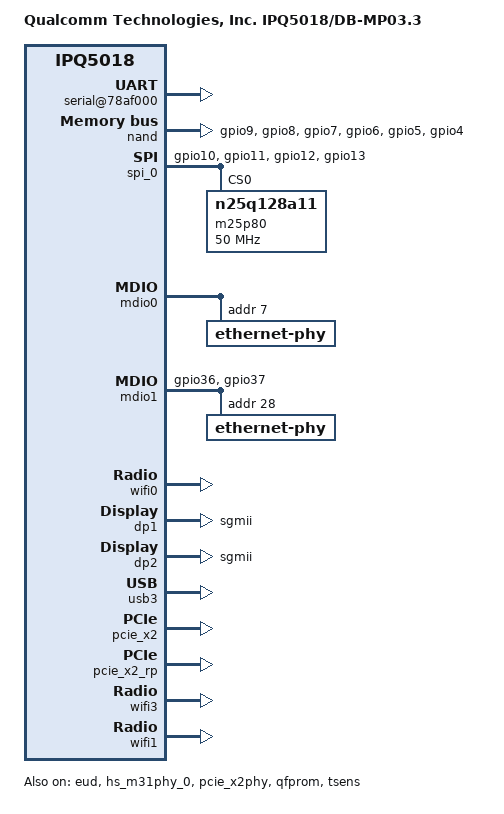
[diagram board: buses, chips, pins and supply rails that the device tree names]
/dts-v1/;
/* Copyright (c) 2018-2020, The Linux Foundation. All rights reserved.
 *
 * Permission to use, copy, modify, and/or distribute this software for any
 * purpose with or without fee is hereby granted, provided that the above
 * copyright notice and this permission notice appear in all copies.
 *
 * THE SOFTWARE IS PROVIDED "AS IS" AND THE AUTHOR DISCLAIMS ALL WARRANTIES
 * WITH REGARD TO THIS SOFTWARE INCLUDING ALL IMPLIED WARRANTIES OF
 * MERCHANTABILITY AND FITNESS. IN NO EVENT SHALL THE AUTHOR BE LIABLE FOR
 * ANY SPECIAL, DIRECT, INDIRECT, OR CONSEQUENTIAL DAMAGES OR ANY DAMAGES
 * WHATSOEVER RESULTING FROM LOSS OF USE, DATA OR PROFITS, WHETHER IN AN
 * ACTION OF CONTRACT, NEGLIGENCE OR OTHER TORTIOUS ACTION, ARISING OUT OF
 * OR IN CONNECTION WITH THE USE OR PERFORMANCE OF THIS SOFTWARE.
 */

#include "qcom-ipq5018.dtsi"

/ {
	#address-cells = <0x2>;
	#size-cells = <0x2>;
	model = "Qualcomm Technologies, Inc. IPQ5018/DB-MP03.3";
	compatible = "qcom,ipq5018-db-mp03.3", "qcom,ipq5018";
	interrupt-parent = <&intc>;

	aliases {
		sdhc1 = &sdhc_1; /* SDC1 eMMC slot */
		serial0 = &blsp1_uart1;
		serial1 = &blsp1_uart2;
		ethernet0 = "/soc/dp1";
		ethernet1 = "/soc/dp2";
	};

	chosen {
		bootargs = "console=ttyMSM0,115200,n8 rw init=/init";
	#ifdef __IPQ_MEM_PROFILE_256_MB__
		bootargs-append = " swiotlb=1";
	#else
		bootargs-append = " swiotlb=1 coherent_pool=2M";
	#endif
		stdout-path = "serial0";
	};
	reserved-memory {
	#ifdef __IPQ_MEM_PROFILE_256_MB__
	/*            256 MB Profile
	 * +=========+==============+========================+
	 * |        |              |                         |
	 * | Region | Start Offset |          Size           |
	 * |        |              |                         |
	 * +--------+--------------+-------------------------+
	 * |        |              |                         |
	 * |        |              |                         |
	 * |  NSS   |  0x40000000  |           8MB           |
	 * |        |              |                         |
	 * |        |              |                         |
	 * +--------+--------------+-------------------------+
	 * |        |              |                         |
	 * |        |              |                         |
	 * |        |              |                         |
	 * |        |              |                         |
	 * | Linux  |  0x40800000  | Depends on total memory |
	 * |        |              |                         |
	 * |        |              |                         |
	 * |        |              |                         |
	 * +        |              |                         |
	 * +--------+--------------+-------------------------+
	 * |        |              |                         |
	 * | uboot  |  0x4A600000  |           4MB           |
	 * |        |              |                         |
	 * +--------+--------------+-------------------------+
	 * |  SBL   |  0x4AA00000  |           1MB           |
	 * +--------+--------------+-------------------------+
	 * |  smem  |  0x4AB00000  |           1MB           |
	 * +--------+--------------+-------------------------+
	 * |        |              |                         |
	 * |   TZ   |  0x4AC00000  |           4MB           |
	 * |        |              |                         |
	 * +--------+--------------+-------------------------+
	 * |        |              |                         |
	 * |        |              |                         |
	 * |        |              |                         |
	 * |   Q6   |  0x4B000000  |          16MB           |
	 * |  code/ |              |                         |
	 * |  data  |              |                         |
	 * +--------+--------------+-------------------------+
	 * |        |              |                         |
	 * |IPQ5018 |  0x4C000000  |          13MB           |
	 * |  data  |              |                         |
	 * +--------+--------------+-------------------------+
	 * | M3 Dump|  0x4CD00000  |           1MB           |
	 * +--------+--------------+-------------------------+
	 * |  QDSS  |  0x4CE00000  |           1MB           |
	 * +--------+--------------+-------------------------+
	 * |QCN6122 |  0x4CF00000  |          15MB           |
	 * |  data  |              |                         |
	 * +--------+--------------+-------------------------+
	 * | M3 Dump|  0x4DE00000  |           1MB           |
	 * +--------+--------------+-------------------------+
	 * |  QDSS  |  0x4DF00000  |           1MB           |
	 * +--------+--------------+-------------------------+
	 * |        |              |                         |
	 * |QCN9000 |  0x4E000000  |          17MB           |
	 * |        |              |                         |
	 * +--------+--------------+-------------------------+
	 * |        |              |                         |
	 * |  MHI1  |  0x4F100000  |          16MB           |
	 * |        |              |                         |
	 * +--------+--------------+-------------------------+
	 * |                                                 |
	 * |      Rest of the memory for Linux               |
	 * |                                                 |
	 * +=================================================+
	 */

		q6_mem_regions: q6_mem_regions@4b000000 {
			no-map;
			reg = <0x0 0x4b000000 0x0 0x3000000>;
		};

		q6_code_data: q6_code_data@4b000000 {
			no-map;
			reg = <0x0 0x4b000000 0x0 01000000>;
		};

		q6_ipq5018_data: q6_ipq5018_data@4c000000 {
			no-map;
			reg = <0x0 0x4c000000 0x0 0xD00000>;
		};

		m3_dump: m3_dump@4CD00000 {
			no-map;
			reg = <0x0 0x4CD00000 0x0 0x100000>;
		};

		q6_etr_region:q6_etr_dump@4CE00000 {
			no-map;
			reg = <0x0 0x4CE00000 0x0 0x100000>;
		};

		q6_qcn6122_data1: q6_qcn6122_data1@4CF00000 {
			no-map;
			reg = <0x0 0x4CF00000 0x0 0xF00000>;
		};

		m3_dump_qcn6122_1: m3_dump_qcn6122_1@4DE00000 {
			no-map;
			reg = <0x0 0x4DE00000 0x0 0x100000>;
		};

		q6_qcn6122_etr_1: q6_qcn6122_etr_1@4DF00000 {
			no-map;
			reg = <0x0 0x4DF00000 0x0 0x100000>;
		};

		q6_qcn9000_region: qcn9000_pcie0@4E000000 {
			no-map;
			reg = <0x0 0x4E000000 0x0 0x01100000>;
		};

		mhi_region1: dma_pool1@4F100000 {
			compatible = "shared-dma-pool";
			no-map;
			reg = <0x0 0x4F100000 0x0 0x01000000>;
		};
	#else
	/*                      512 MB Profile
	 * +=========+==============+========================+
	 * |        |              |                         |
	 * | Region | Start Offset |          Size           |
	 * |        |              |                         |
	 * +--------+--------------+-------------------------+
	 * |        |              |                         |
	 * |        |              |                         |
	 * |  NSS   |  0x40000000  |          16MB           |
	 * |        |              |                         |
	 * |        |              |                         |
	 * +--------+--------------+-------------------------+
	 * |        |              |                         |
	 * |        |              |                         |
	 * |        |              |                         |
	 * |        |              |                         |
	 * | Linux  |  0x41000000  | Depends on total memory |
	 * |        |              |                         |
	 * |        |              |                         |
	 * |        |              |                         |
	 * |        |              |                         |
	 * +--------+--------------+-------------------------+
	 * |        |              |                         |
	 * | uboot  |  0x4A600000  |           4MB           |
	 * |        |              |                         |
	 * +--------+--------------+-------------------------+
	 * |  SBL   |  0x4AA00000  |           1MB           |
	 * +--------+--------------+-------------------------+
	 * |  smem  |  0x4AB00000  |           1MB           |
	 * +--------+--------------+-------------------------+
	 * |        |              |                         |
	 * |   TZ   |  0x4AC00000  |           4MB           |
	 * |        |              |                         |
	 * +--------+--------------+-------------------------+
	 * |        |              |                         |
	 * |        |              |                         |
	 * |   Q6   |  0x4B000000  |          16MB           |
	 * |  code/ |              |                         |
	 * |  data  |              |                         |
	 * +--------+--------------+-------------------------+
	 * |        |              |                         |
	 * |IPQ5018 |  0x4C000000  |          14MB           |
	 * |  data  |              |                         |
	 * +--------+--------------+-------------------------+
	 * | M3 Dump|  0x4CE00000  |           1MB           |
	 * +--------+--------------+-------------------------+
	 * |  QDSS  |  0x4CF00000  |           1MB           |
	 * +--------+--------------+-------------------------+
	 * | caldb  |  0x4D000000  |           2MB           |
	 * +--------+--------------+-------------------------+
	 * |QCN6122 |  0x4D200000  |          16MB           |
	 * |  data  |              |                         |
	 * +--------+--------------+-------------------------+
	 * | M3 Dump|  0x4E200000  |           1MB           |
	 * +--------+--------------+-------------------------+
	 * |  QDSS  |  0x4E300000  |           1MB           |
	 * +--------+--------------+-------------------------+
	 * | caldb  |  0x4E400000  |           5MB           |
	 * +--------+--------------+-------------------------+
	 * |        |              |                         |
	 * |QCN9000 |  0x4E900000  |          30MB           |
	 * |        |              |                         |
	 * +--------+--------------+-------------------------+
	 * |        |              |                         |
	 * |  MHI1  |  0x50700000  |          16MB           |
	 * |        |              |                         |
	 * +--------+--------------+-------------------------+
	 * |                                                 |
	 * |      Rest of the memory for Linux               |
	 * |                                                 |
	 * +=================================================+
	 */

		q6_mem_regions: q6_mem_regions@4b000000 {
			no-map;
			reg = <0x0 0x4b000000 0x0 0x3900000>;
		};

		q6_code_data: q6_code_data@4b000000 {
			no-map;
			reg = <0x0 0x4b000000 0x0 01000000>;
		};

		q6_ipq5018_data: q6_ipq5018_data@4c000000 {
			no-map;
			reg = <0x0 0x4c000000 0x0 0xE00000>;
		};

		m3_dump: m3_dump@4CE00000 {
			no-map;
			reg = <0x0 0x4CE00000 0x0 0x100000>;
		};

		q6_etr_region:q6_etr_dump@4CF00000 {
			no-map;
			reg = <0x0 0x4CF00000 0x0 0x100000>;
		};

		q6_caldb_region: q6_caldb_region@4d000000 {
			no-map;
			reg = <0x0 0x4d000000 0x0 0x200000>;
		};

		q6_qcn6122_data1: q6_qcn6122_data1@4d200000 {
			no-map;
			reg = <0x0 0x4d200000 0x0 0x1000000>;
		};

		m3_dump_qcn6122_1: m3_dump_qcn6122_1@4e200000 {
			no-map;
			reg = <0x0 0x4e200000 0x0 0x100000>;
		};

		q6_qcn6122_etr_1: q6_qcn6122_etr_1@4e300000 {
			no-map;
			reg = <0x0 0x4e300000 0x0 0x100000>;
		};

		q6_qcn6122_caldb_1: q6_qcn6122_caldb_1@4e400000 {
			no-map;
			reg = <0x0 0x4e400000 0x0 0x500000>;
		};

		q6_qcn9000_region: qcn9000_pcie0@4e900000 {
			no-map;
			reg = <0x0 0x4E900000 0x0 0x01E00000>;
		};

		mhi_region1: dma_pool1@50700000 {
			compatible = "shared-dma-pool";
			no-map;
			reg = <0x0 0x50700000 0x0 0x01000000>;
		};
	#endif
	};

	soc {
		serial@78af000 {
			status = "ok";
		};

		qpic_bam: dma@7984000{
			status = "ok";
		};

		nand: qpic-nand@79b0000 {
			pinctrl-0 = <&qspi_nand_pins>;
			pinctrl-names = "default";
			status = "ok";
		};

		spi_0: spi@78b5000 { /* BLSP1 QUP0 */
			pinctrl-0 = <&blsp0_spi_pins>;
			pinctrl-names = "default";
			cs-select = <0>;
			status = "ok";

			m25p80@0 {
				#address-cells = <1>;
				#size-cells = <1>;
				reg = <0>;
				compatible = "n25q128a11";
				linux,modalias = "m25p80", "n25q128a11";
				spi-max-frequency = <50000000>;
				use-default-sizes;
			};
		};

		mdio0: mdio@88000 {
			status = "ok";

			ethernet-phy@0 {
				reg = <7>;
			};
		};

		mdio1: mdio@90000 {
			status = "ok";
			pinctrl-0 = <&mdio1_pins>;
			pinctrl-names = "default";
			phy-reset-gpio = <&tlmm 39 0>;

			ethernet-phy@0 {
				reg = <28>;
			};
		};

		ess-instance {
			num_devices = <0x1>;
			ess-switch@0x39c00000 {
				switch_mac_mode = <0xf>; /* mac mode for uniphy instance*/
				cmnblk_clk = "internal_96MHz"; /* cmnblk clk*/
				qcom,port_phyinfo {
					port@0 {
						port_id = <1>;
						phy_address = <7>;
						mdiobus = <&mdio0>;
					};
					port@1 {
						port_id = <2>;
						phy_address = <0x1c>;
						mdiobus = <&mdio1>;
						port_mac_sel = "QGMAC_PORT";
					};
				};
				led_source@0 {
					source = <0>;
					mode = "normal";
					speed = "all";
					blink_en = "enable";
					active = "high";
				};
			};
		};

		wifi0: wifi@c000000 {
			status = "ok";
		};

		dp1 {
			device_type = "network";
			compatible = "qcom,nss-dp";
			clocks = <&gcc GCC_SNOC_GMAC0_AXI_CLK>;
			clock-names = "nss-snoc-gmac-axi-clk";
			qcom,id = <1>;
			reg = <0x39C00000 0x10000>;
			interrupts = <GIC_SPI 101 IRQ_TYPE_LEVEL_HIGH>;
			qcom,mactype = <2>;
			qcom,link-poll = <1>;
			qcom,phy-mdio-addr = <7>;
			mdio-bus = <&mdio0>;
			local-mac-address = [000000000000];
			phy-mode = "sgmii";
		};

		dp2 {
			device_type = "network";
			compatible = "qcom,nss-dp";
			clocks = <&gcc GCC_SNOC_GMAC1_AXI_CLK>;
			clock-names = "nss-snoc-gmac-axi-clk";
			qcom,id = <2>;
			reg = <0x39D00000 0x10000>;
			interrupts = <GIC_SPI 109 IRQ_TYPE_LEVEL_HIGH>;
			qcom,mactype = <2>;
			qcom,link-poll = <1>;
			qcom,phy-mdio-addr = <28>;
			mdio-bus = <&mdio1>;
			local-mac-address = [000000000000];
			phy-mode = "sgmii";
		};

		qcom,test@0 {
			status = "ok";
		};

		nss-macsec1 {
			compatible = "qcom,nss-macsec";
			phy_addr = <0x1c>;
			mdiobus = <&mdio1>;
		};

		lpass: lpass@0xA000000{
			status = "disabled";
		};

		pcm: pcm@0xA3C0000{
			pinctrl-0 = <&audio_pins>;
			pinctrl-names = "default";
			status = "disabled";
		};

		pcm_lb: pcm_lb@0 {
			status = "disabled";
		};
	};

	thermal-zones {
		status = "ok";
	};
};

&tlmm {
	pinctrl-0 = <&blsp0_uart_pins &blsp1_uart_pins &phy_led_pins &pcie_x2_perst>;
	pinctrl-names = "default";

	blsp0_uart_pins: blsp0_uart_pins {
		uart_rx_tx {
			pins = "gpio20", "gpio21";
			function = "blsp0_uart0";
			bias-disable;
		};
	};

	blsp1_uart_pins: blsp1_uart_pins {
		uart_rx_tx {
			pins = "gpio23", "gpio25", "gpio24", "gpio26";
			function = "blsp1_uart2";
			bias-disable;
		};
	};

	blsp0_spi_pins: blsp0_spi_pins {
		mux {
			pins = "gpio10", "gpio11", "gpio12", "gpio13";
			function = "blsp0_spi";
			drive-strength = <2>;
			bias-disable;
		};
	};

	qspi_nand_pins: qspi_nand_pins {
		qspi_clock {
			pins = "gpio9";
			function = "qspi_clk";
			drive-strength = <8>;
			bias-disable;
		};
		qspi_cs {
				pins = "gpio8";
				function = "qspi_cs";
				drive-strength = <8>;
				bias-disable;
			};
		qspi_data_0 {
				pins = "gpio7";
				function = "qspi0";
				drive-strength = <8>;
				bias-disable;
			};
		qspi_data_1 {
				pins = "gpio6";
				function = "qspi1";
				drive-strength = <8>;
				bias-disable;
			};
		qspi_data_2 {
				pins = "gpio5";
				function = "qspi2";
				drive-strength = <8>;
				bias-disable;
			};
		qspi_data_3 {
				pins = "gpio4";
				function = "qspi3";
				drive-strength = <8>;
				bias-disable;
			};
	};

	mdio1_pins: mdio_pinmux {
		mux_0 {
			pins = "gpio36";
			function = "mdc";
			drive-strength = <8>;
			bias-pull-up;
		};

		mux_1 {
			pins = "gpio37";
			function = "mdio";
			drive-strength = <8>;
			bias-pull-up;
		};
	};

	phy_led_pins: phy_led_pins {
		gephy_led_pin {
			pins = "gpio46";
			function = "led0";
			drive-strength = <8>;
			bias-pull-down;
		};
	};

	audio_pins: audio_pinmux {
		mux_1 {
			pins = "gpio24";
			function = "audio_rxbclk";
			drive-strength = <8>;
			bias-pull-down;
		};

		mux_2 {
			pins = "gpio25";
			function = "audio_rxfsync";
			drive-strength = <8>;
			bias-pull-down;
		};

		mux_3 {
			pins = "gpio26";
			function = "audio_rxd";
			drive-strength = <8>;
			bias-pull-down;
		};

		mux_4 {
			pins = "gpio27";
			function = "audio_txmclk";
			drive-strength = <8>;
			bias-pull-down;
		};

		mux_5 {
			pins = "gpio28";
			function = "audio_txbclk";
			drive-strength = <8>;
			bias-pull-down;
		};

		mux_6 {
			pins = "gpio29";
			function = "audio_txfsync";
			drive-strength = <8>;
			bias-pull-down;
		};

		mux_7 {
			pins = "gpio30";
			function = "audio_txd";
			drive-strength = <8>;
			bias-pull-down;
		};
	};

	pcie_x2_perst: pcie_x2_perst {
		pins = "gpio15";
		function = "gpio";
		drive-strength = <8>;
	};
};

&usb3 {
	status = "ok";
};

&eud {
	status = "ok";
};

&pcie_x1 {
	status = "disabled";
	perst-gpio = <&tlmm 18 1>;
};

&pcie_x2 {
	status = "ok";
	perst-gpio = <&tlmm 15 1>;
};

&dwc_0 {
	/delete-property/ #phy-cells;
	/delete-property/ phys;
	/delete-property/ phy-names;
};

&hs_m31phy_0 {
	status = "ok";
};

&pcie_x1phy {
	status = "disabled";
};

&pcie_x2phy {
	status = "ok";
};

&pcie_x1_rp {
	status = "disabled";

	mhi_0: qcom,mhi@0 {
		reg = <0 0 0 0 0 >;
	};
};

&pcie_x2_rp {
	status = "ok";

	mhi_1: qcom,mhi@1 {
		reg = <0 0 0 0 0 >;
		qrtr_instance_id = <0x20>;
		#address-cells = <0x2>;
		#size-cells = <0x2>;
		memory-region = <&mhi_region1>;
	};
};

&wifi3 {
        status = "ok";
};

&qfprom {
	status = "ok";
};

&tsens {
	status = "ok";
};

&qgic_msi_0 {
	status = "ok";
};

&qcom_q6v5_wcss {
	qcom,multipd_arch;
	memory-region = <&q6_mem_regions>;
	qcom,share_bootargs;
	qcom,bootargs_smem = <507>;
	boot-args = <0x2 0x4 0x2 0x12 0x0 0x0>;

	/* IPQ5018 */
	q6v5_wcss_userpd1 {
		m3_firmware = "IPQ5018/m3_fw.mdt";
		interrupts-extended = <&wcss_smp2p_in 8 0>,
			<&wcss_smp2p_in 9 0>,
			<&wcss_smp2p_in 12 0>,
			<&wcss_smp2p_in 11 0>;
		interrupt-names ="fatal",
			"ready",
			"spawn_ack",
			"stop-ack";
		qcom,smem-states = <&wcss_smp2p_out 8>,
			<&wcss_smp2p_out 9>,
			<&wcss_smp2p_out 10>;
		qcom,smem-state-names = "shutdown",
			"stop",
			"spawn";
		qca,asid = <1>;
		qca,auto-restart;
		qca,int_radio;
		#ifdef __IPQ_MEM_PROFILE_256_MB__
		memory-region = <&q6_ipq5018_data>, <&m3_dump>,
				<&q6_etr_region>;
		#else
		memory-region = <&q6_ipq5018_data>, <&m3_dump>,
				<&q6_etr_region>, <&q6_caldb_region>;
		#endif
	};

	/* QCN6122 5G*/
	q6v5_wcss_userpd2 {
		m3_firmware = "qcn6122/m3_fw.mdt";
		interrupts-extended = <&wcss_smp2p_in 16 0>,
			<&wcss_smp2p_in 17 0>,
			<&wcss_smp2p_in 20 0>,
			<&wcss_smp2p_in 19 0>;
		interrupt-names ="fatal",
			"ready",
			"spawn_ack",
			"stop-ack";
		qcom,smem-states = <&wcss_smp2p_out 16>,
			<&wcss_smp2p_out 17>,
			<&wcss_smp2p_out 18>;
		qcom,smem-state-names = "shutdown",
			"stop",
			"spawn";
		qca,asid = <2>;
		qca,auto-restart;
		#ifdef __IPQ_MEM_PROFILE_256_MB__
		memory-region = <&q6_qcn6122_data1>, <&m3_dump_qcn6122_1>,
				<&q6_qcn6122_etr_1>;
		#else
		memory-region = <&q6_qcn6122_data1>, <&m3_dump_qcn6122_1>,
				<&q6_qcn6122_etr_1>, <&q6_qcn6122_caldb_1>;
		#endif
	};
};


&wifi0 {
	/* IPQ5018 */
	qcom,multipd_arch;
	qcom,bdf-addr = <0x0 0x4C000000 0x4C000000 0x0 0x0>;
#ifdef __IPQ_MEM_PROFILE_256_MB__
	qcom,tgt-mem-mode = <2>;
#else
	qcom,tgt-mem-mode = <1>;
#endif
	qcom,board_id = <0x23>;
	qcom,caldb-addr = <0x0 0x4D000000 0 0 0>;
	qcom,caldb-size = <0x200000>;
	qcom,userpd-subsys-name = "q6v5_wcss_userpd1";
	status = "ok";
};

&wifi1 {
	/* QCN6122 5G*/
	qcom,multipd_arch;
	qcom,board_id = <0x60>;
#ifdef __IPQ_MEM_PROFILE_256_MB__
	qcom,tgt-mem-mode = <2>;
#else
	qcom,tgt-mem-mode = <1>;
#endif
	/*
	 * once wifi driver changes are in place to
	 * qcn6122 compatible string, remove qcn9100 here
	 */
	compatible = "qcom,cnss-qcn6122", "qcom,cnss-qcn9100";
	qcom,bdf-addr = <0x0 0x4D200000 0x4CF00000 0x0 0x0>;
	qcom,caldb-addr = <0x0 0x4E400000 0 0 0>;
	qcom,caldb-size = <0x500000>;
	qcom,userpd-subsys-name = "q6v5_wcss_userpd2";
	status = "ok";
};

&wifi3 {
	/* QCN9000 */
	compatible = "qcom,cnss-qcn9000";
	board_id = <0xa4>;
	status = "ok";
#ifdef __IPQ_MEM_PROFILE_256_MB__ || __IPQ_FLASH_16M_PROFILE__
			/* QCN9000 tgt-mem-mode=2 layout - 17MB
			 * +=========+==============+=========+
			 * |  Region | Start Offset |   Size  |
			 * +---------+--------------+---------+
			 * | HREMOTE |  0x4E000000  |   15MB  |
			 * +---------+--------------+---------+
			 * | M3 Dump |  0x4EF00000  |   1MB   |
			 * +---------+--------------+---------+
			 * |   ETR   |  0x4F000000  |   1MB   |
			 * +==================================+
			 */
			base-addr = <0x4E000000>;
			m3-dump-addr = <0x4EF00000>;
			etr-addr = <0x4F000000>;
			caldb-addr = <0>;
			caldb-size = <0>;
			hremote-size = <0xF00000>;
			tgt-mem-mode = <0x2>;
#else
			/* QCN9000 tgt-mem-mode=1 layout - 30MB
			 * +=========+==============+=========+
			 * |  Region | Start Offset |   Size  |
			 * +---------+--------------+---------+
			 * | HREMOTE |  0x4E900000  |   20MB  |
			 * +---------+--------------+---------+
			 * | M3 Dump |  0x4FD00000  |   1MB   |
			 * +---------+--------------+---------+
			 * |   ETR   |  0x4FE00000  |   1MB   |
			 * +---------+--------------+---------+
			 * |  Caldb  |  0x4FF00000  |   8MB   |
			 * +==================================+
			 */
			base-addr = <0x4E900000>;
			m3-dump-addr = <0x4FD00000>;
			etr-addr = <0x4FE00000>;
			caldb-addr = <0x4FF00000>;
			caldb-size = <0x800000>;
			hremote-size = <0x1400000>;
			tgt-mem-mode = <0x1>;
#endif
};
